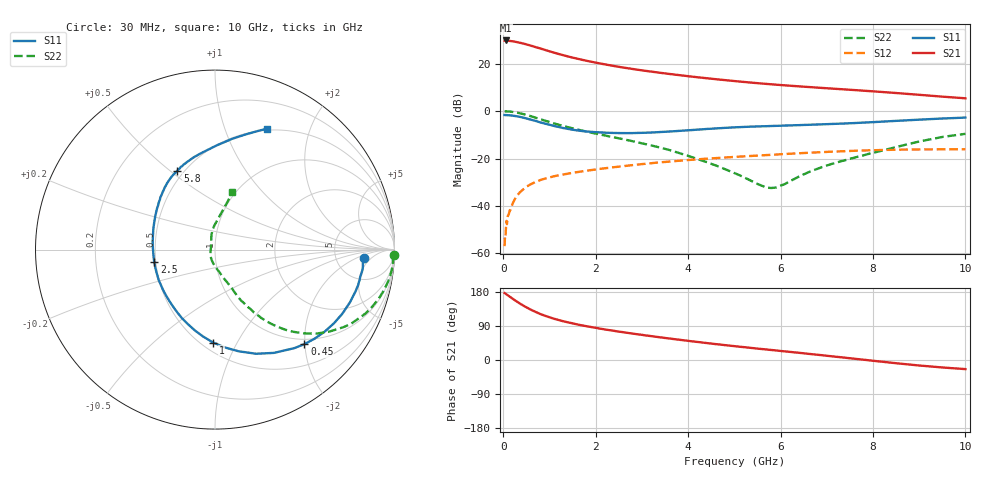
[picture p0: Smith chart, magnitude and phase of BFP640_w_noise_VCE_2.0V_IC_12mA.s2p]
! (c) 2013  Infineon Technologies AG, Munich
! Infineon Technologies  Discrete & RF Semiconductors
! BFP640
! VCE =  2.0 V,  IC =  12 mA
! Common Emitter S-Parameters:  Apr 2013
# GHz  S  MA  R  50
!  f  S11  S21  S12  S22
! GHz  MAG  ANG  MAG  ANG  MAG  ANG  MAG  ANG
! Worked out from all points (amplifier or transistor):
!   99 points, 30 MHz to 10 GHz, reference 50 ohm
!   highest |S21| = 29.9 dB at 50 MHz (marker M1)
!   |S21| within 3 dB of that: start of sweep to 733.3 MHz
!   unconditionally stable (mu >= 1): 3.531 GHz to end of sweep
!   at 350 MHz: K = 0.18, MSG = 31.8 dB, |S12| = -34.5 dB
!   at 3.5 GHz: K = 1.00, MSG = 18.7 dB, |S12| = -21.5 dB
!   at 10 GHz: K = 1.09, MAG = 9.0 dB, |S12| = -16.1 dB
!   lowest NFmin = 0.69 dB at 450 MHz
!   S11 on the Smith chart (normalised r, x): 30 MHz: 10, -3; 450 MHz: 0.90, -1.99; 1 GHz: 0.57, -0.80; 2.5 GHz: 0.49, -0.08; 5.8 GHz: 0.46, +0.53; 10 GHz: 0.48, +1.41
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0.03  0.8319 -3.2  31.14 176.7  0.0014 67.4  0.995 -1.8
0.05  0.8275 -5.3  31.39 175.2  0.0023 74.4  0.9925 -3.4
0.12  0.8216 -13.0  30.93 168.9  0.0067 87.1  0.9874 -8.1
0.25  0.7941 -26.8  29.61 157.8  0.0138 78.3  0.9517 -16.8
0.35  0.7634 -36.7  28.16 149.9  0.0188 72.7  0.9108 -23.0
0.45  0.725 -46.6  26.73 142.5  0.023 69.2  0.8635 -28.6
0.6  0.6625 -60.3  24.36 132.6  0.0287 64.0  0.7834 -35.7
0.7  0.6237 -68.5  22.7 127.0  0.032 60.4  0.7315 -39.8
0.8  0.5817 -76.9  21.3 121.5  0.035 58.3  0.6814 -43.2
1  0.5181 -91.1  18.5 112.8  0.0398 54.0  0.5929 -48.8
1.1  0.4884 -97.9  17.34 108.9  0.0422 52.6  0.5529 -51.0
1.3  0.4409 -110.3  15.29 102.2  0.046 50.2  0.4874 -54.5
1.7  0.382 -132.1  12.29 91.5  0.0533 46.9  0.3909 -58.9
2.1  0.3568 -151.4  10.21 82.7  0.0605 44.2  0.3212 -62.7
2.5  0.3454 -168.1  8.703 75.0  0.0672 42.0  0.2674 -65.1
3.4  0.3634 160.8  6.494 59.8  0.0831 36.0  0.1697 -72.6
4.2  0.4084 140.2  5.238 47.7  0.096 30.2  0.098 -88.0
5.1  0.4603 124.5  4.26 35.3  0.1094 23.6  0.0449 -122.9
5.8  0.4869 115.5  3.711 26.4  0.1197 18.7  0.0238 172.3
6.7  0.5206 105.1  3.207 15.1  0.1335 11.3  0.056 112.2
8.5  0.6252 81.1  2.429 -8.5  0.1536 -5.4  0.1748 84.0
10  0.7334 66.7  1.877 -24.0  0.1571 -16.6  0.3328 73.7
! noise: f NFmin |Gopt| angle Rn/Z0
0.45  0.69  0.21  8  0.03
0.9  0.7  0.2  17  0.04
1.5  0.72  0.18  28  0.05
1.9  0.74  0.14  47  0.05
2.4  0.78  0.12  58  0.06
3.5  0.9  0.11  69  0.08
5.5  1.11  0.21  -115  0.11
10  1.67  0.58  -59  0.41
